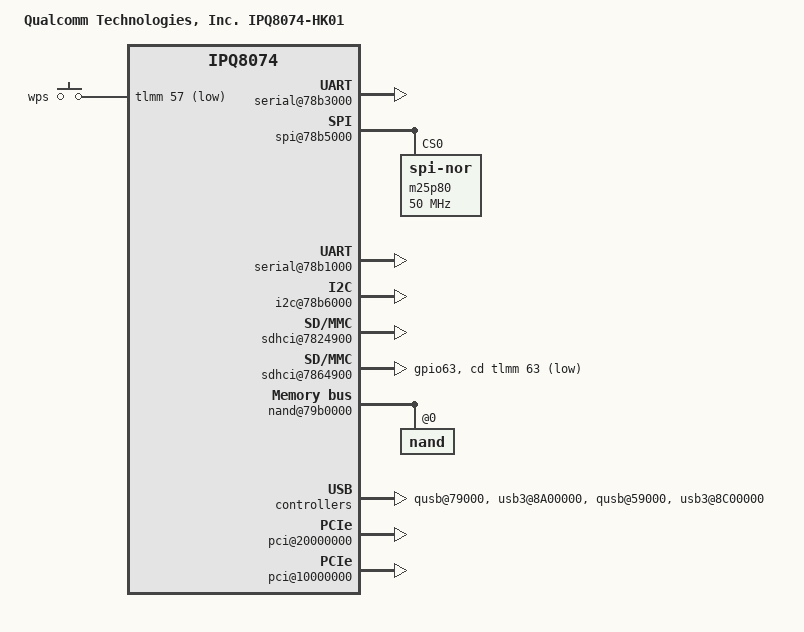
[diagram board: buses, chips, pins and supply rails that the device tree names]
// SPDX-License-Identifier: GPL-2.0-only
/dts-v1/;
/* Copyright (c) 2017, The Linux Foundation. All rights reserved.
 */
#include "ipq8074.dtsi"

/ {
	#address-cells = <0x2>;
	#size-cells = <0x2>;
	model = "Qualcomm Technologies, Inc. IPQ8074-HK01";
	compatible = "qcom,ipq8074-hk01", "qcom,ipq8074";
	interrupt-parent = <&intc>;

	aliases {
		serial0 = &blsp1_uart5;
		serial1 = &blsp1_uart3;
	};

	chosen {
		stdout-path = "serial0";
	};

	soc {
		pinctrl@1000000 {
			sd_pins: sd-pinmux {
				pins = "gpio63";
				function = "sd_card";
				drive-strength = <8>;
				bias-pull-up;
			};

			button_pins: button_pins {
				wps_button {
					pins = "gpio57";
					function = "gpio";
					drive-strength = <8>;
					bias-pull-up;
				};
			};

			ledc_pins: ledc_pinmux {
				led_clk {
					pins = "gpio18";
					function = "led0";
					drive-strength = <8>;
					bias-pull-down;
				};

				led_data {
					pins = "gpio19";
					function = "led1";
					drive-strength = <8>;
					bias-pull-down;
				};

				led_clr {
					pins = "gpio20";
					function = "led2";
					drive-strength = <8>;
					bias-pull-up;
				};
			};
		};

		serial@78b3000 {
			status = "ok";
		};

		spi@78b5000 {
			status = "ok";

			m25p80@0 {
				  #address-cells = <1>;
				  #size-cells = <1>;
				  compatible = "jedec,spi-nor";
				  reg = <0>;
				  spi-max-frequency = <50000000>;
			};
		};

		serial@78b1000 {
			 status = "ok";
		};

		i2c@78b6000 {
			 status = "ok";
		};

		sdhci@7824900 {
			status = "ok";
		};

		sdhci@7864900 {
			pinctrl-0 = <&sd_pins>;
			pinctrl-names = "default";
			cd-gpios = <&tlmm 63 GPIO_ACTIVE_LOW>;

			status = "ok";
		};

		dma@7984000 {
			 status = "ok";
		};

		nand@79b0000 {
			status = "ok";

			nand@0 {
				reg = <0>;
				#address-cells = <1>;
				#size-cells = <1>;

				nand-ecc-strength = <4>;
				nand-ecc-step-size = <512>;
				nand-bus-width = <8>;
			};
		};

		qusb@79000 {
			status = "ok";
		};

		ssphy@78000 {
			status = "ok";
		};

		usb3@8A00000 {
			status = "ok";
		};

		qusb@59000 {
			status = "ok";
		};

		ssphy@58000 {
			status = "ok";
		};

		usb3@8C00000 {
			status = "ok";
		};

		phy@84000 {
			status = "ok";
		};

		phy@86000 {
			status = "ok";
		};

		pci@20000000 {
			perst-gpio = <&tlmm 58 1>;
			status = "ok";
		};

		phy@8e000 {
			status = "ok";
		};

		pci@10000000 {
			perst-gpio = <&tlmm 61 0x1>;
			status = "ok";
		};

		gpio_keys {
			compatible = "gpio-keys";
			pinctrl-0 = <&button_pins>;
			pinctrl-names = "default";
			status = "ok";

			button@1 {
				label = "wps";
				linux,code = <KEY_WPS_BUTTON>;
				gpios = <&tlmm 57 GPIO_ACTIVE_LOW>;
				linux,input-type = <1>;
				debounce-interval = <60>;
			};
		};

		ledc@191E000  {
			pinctrl-0 = <&ledc_pins>;
			pinctrl-names = "default";

			status = "ok";

			led0 {
				label = "ipq::led0";
				linux,default-trigger = "led_wifi_son_green";
			};
			led1 {
				label = "ipq::led1";
				linux,default-trigger = "led_wifi_son_orange";
			};
			led2 {
				label = "ipq::led2";
				linux,default-trigger = "led_wifi_son_blue";
			};
			led3 {
				label = "ipq::led3";
				linux,default-trigger = "led_2g";
			};
			led4 {
				label = "ipq::led4";
				linux,default-trigger = "led_5gl";
			};
			led5 {
				label = "ipq::led5";
				linux,default-trigger = "led_5gh";
			};
			led6 {
				label = "ipq::led6";
				linux,default-trigger = "led_lan";
			};
			led7 {
				label = "ipq::led7";
				linux,default-trigger = "led_wan";
			};
			led8 {
				label = "ipq::led8";
				linux,default-trigger = "led_10g_link";
			};
			led9 {
				label = "ipq::led9";
				linux,default-trigger = "led_sfp";
			};
			led10 {
				label = "ipq::led10";
				linux,default-trigger = "led_bt";
			};
			led11 {
				label = "ipq::led11";
				linux,default-trigger = "none";
			};
			led12 {
				label = "ipq::led12";
				linux,default-trigger = "none";
			};
		};
	};
};
